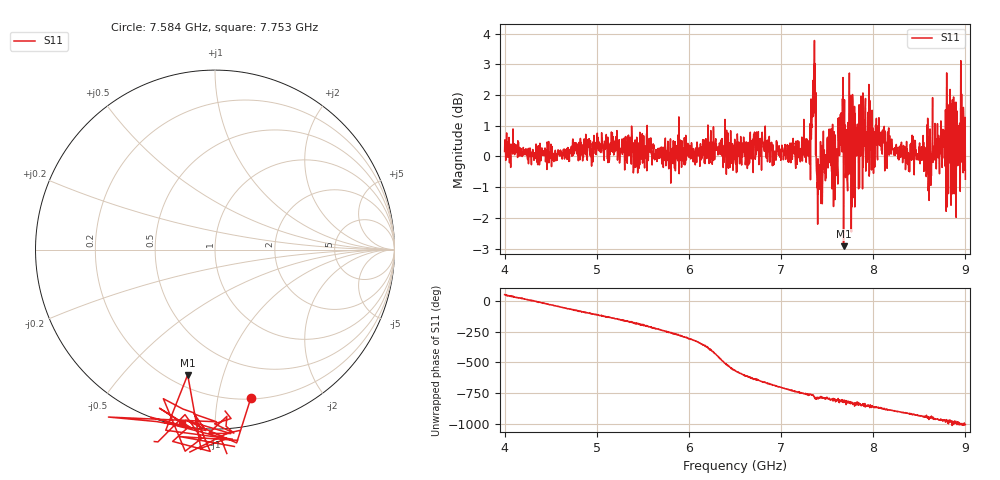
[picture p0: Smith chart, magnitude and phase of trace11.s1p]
! Created with skrf 1.8.0 (http://scikit-rf.org).
# Hz S RI R 50.0
!freq ReS11 ImS11
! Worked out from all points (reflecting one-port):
!   1601 points, 4 GHz to 9 GHz, reference 50 ohm
!   lowest |S11| = -2.9 dB at 7.678 GHz (marker M1), VSWR 6.00, Z = 13.5 - j38.5 ohm
!   phase of S11 starts at 50 deg and turns -1054 deg over the sweep
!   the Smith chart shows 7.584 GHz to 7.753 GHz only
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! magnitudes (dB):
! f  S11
! 4 GHz  0.2
! 4.625 GHz  -0.1
! 5.25 GHz  -0.1
! 5.875 GHz  0.3
! 6.412 GHz  0.2
! 6.5 GHz  -0.1
! 6.728 GHz  0.6
! 7.125 GHz  0.2
! 7.294 GHz  0.0
! 7.347 GHz  2.5
! 7.369 GHz  3.0
! 7.409 GHz  -1.0
! 7.519 GHz  -0.2
! 7.591 GHz  -0.3
! 7.647 GHz  0.4
! 7.678 GHz  -2.9
! 7.703 GHz  -0.4
! 7.75 GHz  -0.6
! 7.775 GHz  2.0
! 7.8 GHz  -1.6
! 7.891 GHz  -0.3
! 7.909 GHz  0.3
! 8.375 GHz  0.0
! 8.612 GHz  0.6
! 8.822 GHz  1.5
! 8.875 GHz  -0.2
! 8.972 GHz  0.6
! 9 GHz  -0.7
